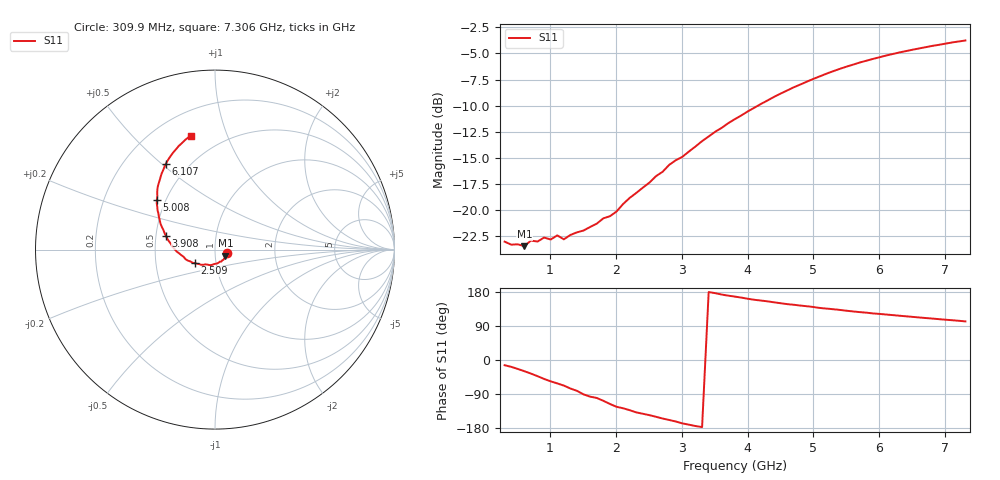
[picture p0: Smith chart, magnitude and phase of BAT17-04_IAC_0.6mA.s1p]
! Infineon Technologies  Discrete & RF Semiconductors
! BAT17-04
! IAC = 0.6 mA
! One-Port S-Parameters
# Hz  S  MA  R  50
!f  S11
!Hz  Mag  Ang
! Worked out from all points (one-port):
!   71 points, 309.9 MHz to 7.306 GHz, reference 50 ohm
!   lowest |S11| = -23.5 dB at 609.7 MHz (marker M1), VSWR 1.14, Z = 56.1 - j3.73 ohm
!   |S11| at or under -10 dB: start of sweep to 4.157 GHz
!   S11 on the Smith chart (normalised r, x): 309.9 MHz: 1.15, -0.04; 2.509 GHz: 0.79, -0.12; 3.908 GHz: 0.56, +0.09; 5.008 GHz: 0.45, +0.30; 6.107 GHz: 0.38, +0.51; 7.306 GHz: 0.34, +0.75
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3.0985e8  0.07051 -13.8
4.098e8  0.0682 -18.0
6.097e8  0.06707 -29.6
7.0965e8  0.07133 -35.8
8.096e8  0.07057 -42.7
9.0955e8  0.07377 -49.9
1.0095e9  0.07218 -56.4
1.10945e9  0.07556 -61.8
1.2094e9  0.07232 -67.5
1.30935e9  0.07592 -75.2
1.70915e9  0.08598 -100.1
1.8091e9  0.0912 -107.7
1.90905e9  0.09334 -116.0
2.009e9  0.09831 -123.5
2.10895e9  0.1068 -127.4
2.50875e9  0.1352 -145.5
2.8086e9  0.1645 -158.3
3.0085e9  0.1797 -167.3
3.30835e9  0.2138 -177.0
3.8081e9  0.2726 167.2
3.90805e9  0.2843 164.6
4.30785e9  0.3354 154.7
4.70765e9  0.388 145.6
5.0075e9  0.4259 139.6
5.6072e9  0.4977 128.0
6.10695e9  0.5501 120.0
6.50675e9  0.5863 113.7
7.30635e9  0.649 101.9
